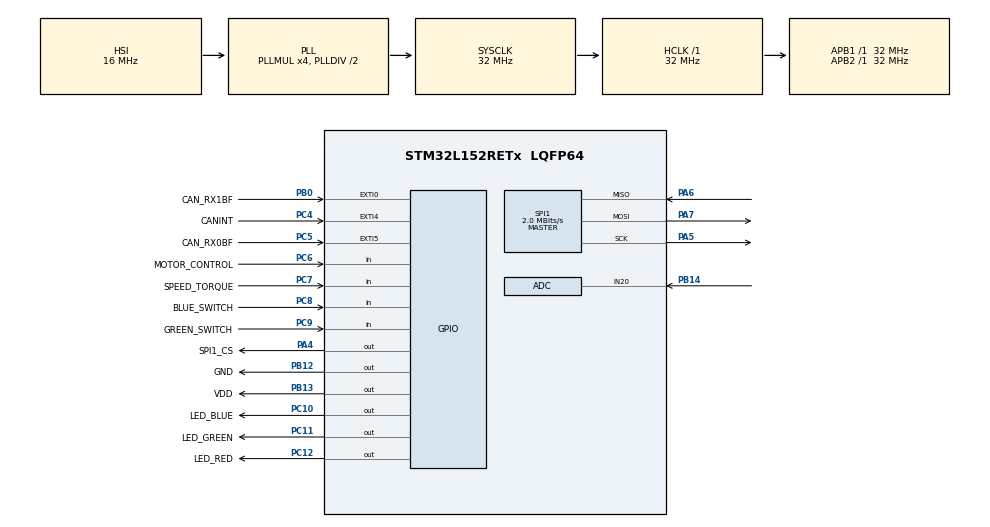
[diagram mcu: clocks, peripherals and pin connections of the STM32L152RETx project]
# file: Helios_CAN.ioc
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ADC.Channel-0\#ChannelRegularConversion=ADC_CHANNEL_20
ADC.NbrOfConversionFlag=1
ADC.Rank-0\#ChannelRegularConversion=1
ADC.SamplingTime-0\#ChannelRegularConversion=ADC_SAMPLETIME_4CYCLES
FREERTOS.Mutexes01=SPIMutex,Dynamic,NULL
FREERTOS.Tasks01=defaultTask,24,128,StartDefaultTask,Default,NULL,Dynamic,NULL,NULL
Mcu.Family=STM32L1
Mcu.Name=STM32L152RETx
Mcu.Package=LQFP64
NVIC.EXTI9_5_IRQn=true\:5\:0\:false\:false\:true\:true\:true\:true\:true
NVIC.PriorityGroup=NVIC_PRIORITYGROUP_4
NVIC.TIM2_IRQn=true\:15\:0\:false\:false\:true\:false\:false\:true\:true
NVIC.TimeBase=TIM2_IRQn
NVIC.TimeBaseIP=TIM2
PA13.Mode=Trace_Asynchronous_SW
PA13.Signal=SYS_JTMS-SWDIO
PA14.Mode=Trace_Asynchronous_SW
PA14.Signal=SYS_JTCK-SWCLK
PA4.GPIO_Label=SPI1_CS
PA4.PinState=GPIO_PIN_SET
PA4.Signal=GPIO_Output
PA5.Mode=Full_Duplex_Master
PA5.Signal=SPI1_SCK
PA6.Mode=Full_Duplex_Master
PA6.Signal=SPI1_MISO
PA7.Mode=Full_Duplex_Master
PA7.Signal=SPI1_MOSI
PB0.GPIO_Label=CAN_RX1BF
PB0.GPIO_ModeDefaultEXTI=GPIO_MODE_IT_FALLING
PB0.Signal=GPXTI0
PB12.GPIO_Label=GND
PB12.PinState=GPIO_PIN_RESET
PB12.Signal=GPIO_Output
PB13.GPIO_Label=VDD
PB13.PinState=GPIO_PIN_SET
PB13.Signal=GPIO_Output
PB14.Mode=IN20
PB14.Signal=ADC_IN20
PB3.Mode=Trace_Asynchronous_SW
PB3.Signal=SYS_JTDO-TRACESWO
PC10.GPIO_Label=LED_BLUE
PC10.Signal=GPIO_Output
PC11.GPIO_Label=LED_GREEN
PC11.Signal=GPIO_Output
PC12.GPIO_Label=LED_RED
PC12.Signal=GPIO_Output
PC4.GPIO_Label=CANINT
PC4.GPIO_ModeDefaultEXTI=GPIO_MODE_IT_FALLING
PC4.Signal=GPXTI4
PC5.GPIO_Label=CAN_RX0BF
PC5.GPIO_ModeDefaultEXTI=GPIO_MODE_IT_FALLING
PC5.Signal=GPXTI5
PC6.GPIO_Label=MOTOR_CONTROL
PC6.Signal=GPIO_Input
PC7.GPIO_Label=SPEED_TORQUE
PC7.Signal=GPIO_Input
PC8.GPIO_Label=BLUE_SWITCH
PC8.Signal=GPIO_Input
PC9.GPIO_Label=GREEN_SWITCH
PC9.Signal=GPIO_Input
ProjectManager.HeapSize=0x200
ProjectManager.StackSize=0x400
ProjectManager.TargetToolchain=STM32CubeIDE
RCC.48MHZClocksFreq_Value=32000000
RCC.AHBFreq_Value=32000000
RCC.APB1Freq_Value=32000000
RCC.APB1TimFreq_Value=32000000
RCC.APB2Freq_Value=32000000
RCC.APB2TimFreq_Value=32000000
RCC.HCLKFreq_Value=32000000
RCC.HSE_VALUE=24000000
RCC.HSI_VALUE=16000000
RCC.LSE_VALUE=32768
RCC.MSI_VALUE=2097000
RCC.PLLMUL=RCC_PLL_MUL4
RCC.SYSCLKFreq_VALUE=32000000
RCC.SYSCLKSource=RCC_SYSCLKSOURCE_PLLCLK
RCC.VCOOutputFreq_Value=64000000
SPI1.BaudRatePrescaler=SPI_BAUDRATEPRESCALER_16
SPI1.CLKPhase=SPI_PHASE_2EDGE
SPI1.CLKPolarity=SPI_POLARITY_HIGH
SPI1.CalculateBaudRate=2.0 MBits/s
SPI1.Direction=SPI_DIRECTION_2LINES
SPI1.Mode=SPI_MODE_MASTER
SPI1.VirtualType=VM_MASTER
VP_FREERTOS_VS_CMSIS_V2.Mode=CMSIS_V2
VP_SYS_VS_tim2.Mode=TIM2
board=custom

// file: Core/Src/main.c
/* USER CODE BEGIN Header */
/**
  ******************************************************************************
  * @file           : main.c
  * @brief          : Main program body
  ******************************************************************************
  * @attention
  *
  * Copyright (c) 2022 STMicroelectronics.
  * All rights reserved.
  *
  * This software is licensed under terms that can be found in the LICENSE file
  * in the root directory of this software component.
  * If no LICENSE file comes with this software, it is provided AS-IS.
  *
  ******************************************************************************
  */
/* USER CODE END Header */
#include "main.h"
#include "cmsis_os.h"

/* USER CODE BEGIN Includes */
#include "CAN.h"
#include "ADC.h"
#include "BlueSwitchTask.h"
#include "GreenSwitchTask.h"
/* USER CODE END Includes */

/* USER CODE BEGIN PD */
#define CAN_INTERRUPT_QUEUE_COUNT 3 // anticipate 2 sudden messages + 1 for extra room
/* USER CODE END PD */

ADC_HandleTypeDef hadc;

SPI_HandleTypeDef hspi1;

/* Definitions for defaultTask */
osThreadId_t defaultTaskHandle;
const osThreadAttr_t defaultTask_attributes = {
  .name = "defaultTask",
  .stack_size = 128 * 4,
  .priority = (osPriority_t) osPriorityNormal,
};
/* Definitions for SPIMutex */
osMutexId_t SPIMutexHandle;
const osMutexAttr_t SPIMutex_attributes = {
  .name = "SPIMutex"
};
/* USER CODE BEGIN PV */
osThreadId_t greenSwitchTaskHandle;
const osThreadAttr_t greenSwitchTask_attributes = {
  .name = "greenSwitchTask",
  .stack_size = 128 * 4,
  .priority = (osPriority_t) osPriorityNormal,
};
osThreadId_t blueSwitchTaskHandle;
const osThreadAttr_t blueSwitchTask_attributes = {
  .name = "blueSwitchTask",
  .stack_size = 128 * 4,
  .priority = (osPriority_t) osPriorityNormal,
};
osThreadId_t MotorTestTaskHandle;
const osThreadAttr_t MotorTestTask_attributes = {
  .name = "MotorTestTask",
  .stack_size = 128 * 4,
  .priority = (osPriority_t) osPriorityNormal,
};
osThreadId_t canTxGateKeeperTaskHandle;
const osThreadAttr_t canTxGateKeeperTask_attributes = {
  .name = "canTxGateKeeperTask",
  .stack_size = 128 * 4,
  .priority = (osPriority_t) osPriorityAboveNormal1,
};
osThreadId_t canRxInterruptTaskHandle;
const osThreadAttr_t canRXInterruptTask_attributes = {
  .name = "canRxInterruptTask",
  .stack_size = 128 * 4,
  .priority = (osPriority_t) osPriorityAboveNormal1,
};

osMessageQueueId_t CANInterruptQueue;
osMessageQueueId_t CANTxMessageQueue;

uint8_t blueStatus = 0;
uint8_t greenStatus = 0;
/* USER CODE END PV */

void SystemClock_Config(void);
static void MX_GPIO_Init(void);
static void MX_SPI1_Init(void);
static void MX_ADC_Init(void);
void StartDefaultTask(void *argument);

int main(void)
{

  /* MCU Configuration--------------------------------------------------------*/

  /* Reset of all peripherals, Initializes the Flash interface and the Systick. */
  HAL_Init();

  /* Configure the system clock */
  SystemClock_Config();

  /* Initialize all configured peripherals */
  MX_GPIO_Init();
  MX_SPI1_Init();
  MX_ADC_Init();
  /* USER CODE BEGIN 2 */
  ConfigureCANSPI();
  //HAL_SPI_Receive_IT(&hspi2, buffer, 1);
  /* USER CODE END 2 */

  /* Init scheduler */
  osKernelInitialize();
  /* Create the mutex(es) */
  /* creation of SPIMutex */
  SPIMutexHandle = osMutexNew(&SPIMutex_attributes);

  /* USER CODE BEGIN RTOS_QUEUES */
  CANInterruptQueue = osMessageQueueNew(CAN_INTERRUPT_QUEUE_COUNT, sizeof(uint16_t), NULL);
  CANTxMessageQueue = osMessageQueueNew(10, sizeof(CANMsg), NULL);
  /* USER CODE END RTOS_QUEUES */

  /* Create the thread(s) */
  /* creation of defaultTask */
  defaultTaskHandle = osThreadNew(StartDefaultTask, NULL, &defaultTask_attributes);

  /* USER CODE BEGIN RTOS_THREADS */
  greenSwitchTaskHandle = osThreadNew((osThreadFunc_t)greenSwitchTask, NULL, &greenSwitchTask_attributes);
  blueSwitchTaskHandle = osThreadNew((osThreadFunc_t)blueSwitchTask, NULL, &greenSwitchTask_attributes);
  MotorTestTaskHandle = osThreadNew((osThreadFunc_t)MotorTestTask, NULL, &motorTestngTask_attributes);
  cantx
  /* USER CODE END RTOS_THREADS */

  /* Start scheduler */
  osKernelStart();

  /* We should never get here as control is now taken by the scheduler */
  /* Infinite loop */
  while (1)
  {

  }
}

void SystemClock_Config(void)
{
  RCC_OscInitTypeDef RCC_OscInitStruct = {0};
  RCC_ClkInitTypeDef RCC_ClkInitStruct = {0};

  /** Configure the main internal regulator output voltage
  */
  __HAL_PWR_VOLTAGESCALING_CONFIG(PWR_REGULATOR_VOLTAGE_SCALE1);

  /** Initializes the RCC Oscillators according to the specified parameters
  * in the RCC_OscInitTypeDef structure.
  */
  RCC_OscInitStruct.OscillatorType = RCC_OSCILLATORTYPE_HSI;
  RCC_OscInitStruct.HSIState = RCC_HSI_ON;
  RCC_OscInitStruct.HSICalibrationValue = RCC_HSICALIBRATION_DEFAULT;
  RCC_OscInitStruct.PLL.PLLState = RCC_PLL_ON;
  RCC_OscInitStruct.PLL.PLLSource = RCC_PLLSOURCE_HSI;
  RCC_OscInitStruct.PLL.PLLMUL = RCC_PLL_MUL4;
  RCC_OscInitStruct.PLL.PLLDIV = RCC_PLL_DIV2;
  if (HAL_RCC_OscConfig(&RCC_OscInitStruct) != HAL_OK)
  {
    Error_Handler();
  }

  /** Initializes the CPU, AHB and APB buses clocks
  */
  RCC_ClkInitStruct.ClockType = RCC_CLOCKTYPE_HCLK|RCC_CLOCKTYPE_SYSCLK
                              |RCC_CLOCKTYPE_PCLK1|RCC_CLOCKTYPE_PCLK2;
  RCC_ClkInitStruct.SYSCLKSource = RCC_SYSCLKSOURCE_PLLCLK;
  RCC_ClkInitStruct.AHBCLKDivider = RCC_SYSCLK_DIV1;
  RCC_ClkInitStruct.APB1CLKDivider = RCC_HCLK_DIV1;
  RCC_ClkInitStruct.APB2CLKDivider = RCC_HCLK_DIV1;

  if (HAL_RCC_ClockConfig(&RCC_ClkInitStruct, FLASH_LATENCY_1) != HAL_OK)
  {
    Error_Handler();
  }
}

static void MX_ADC_Init(void)
{

  ADC_ChannelConfTypeDef sConfig = {0};

  /** Configure the global features of the ADC (Clock, Resolution, Data Alignment and number of conversion)
  */
  hadc.Instance = ADC1;
  hadc.Init.ClockPrescaler = ADC_CLOCK_ASYNC_DIV1;
  hadc.Init.Resolution = ADC_RESOLUTION_12B;
  hadc.Init.DataAlign = ADC_DATAALIGN_RIGHT;
  hadc.Init.ScanConvMode = ADC_SCAN_DISABLE;
  hadc.Init.EOCSelection = ADC_EOC_SEQ_CONV;
  hadc.Init.LowPowerAutoWait = ADC_AUTOWAIT_DISABLE;
  hadc.Init.LowPowerAutoPowerOff = ADC_AUTOPOWEROFF_DISABLE;
  hadc.Init.ChannelsBank = ADC_CHANNELS_BANK_A;
  hadc.Init.ContinuousConvMode = DISABLE;
  hadc.Init.NbrOfConversion = 1;
  hadc.Init.DiscontinuousConvMode = DISABLE;
  hadc.Init.ExternalTrigConv = ADC_SOFTWARE_START;
  hadc.Init.ExternalTrigConvEdge = ADC_EXTERNALTRIGCONVEDGE_NONE;
  hadc.Init.DMAContinuousRequests = DISABLE;
  if (HAL_ADC_Init(&hadc) != HAL_OK)
  {
    Error_Handler();
  }

  /** Configure for the selected ADC regular channel its corresponding rank in the sequencer and its sample time.
  */
  sConfig.Channel = ADC_CHANNEL_20;
  sConfig.Rank = ADC_REGULAR_RANK_1;
  sConfig.SamplingTime = ADC_SAMPLETIME_4CYCLES;
  if (HAL_ADC_ConfigChannel(&hadc, &sConfig) != HAL_OK)
  {
    Error_Handler();
  }

}

static void MX_SPI1_Init(void)
{

  /* SPI1 parameter configuration*/
  hspi1.Instance = SPI1;
  hspi1.Init.Mode = SPI_MODE_MASTER;
  hspi1.Init.Direction = SPI_DIRECTION_2LINES;
  hspi1.Init.DataSize = SPI_DATASIZE_8BIT;
  hspi1.Init.CLKPolarity = SPI_POLARITY_HIGH;
  hspi1.Init.CLKPhase = SPI_PHASE_2EDGE;
  hspi1.Init.NSS = SPI_NSS_SOFT;
  hspi1.Init.BaudRatePrescaler = SPI_BAUDRATEPRESCALER_16;
  hspi1.Init.FirstBit = SPI_FIRSTBIT_MSB;
  hspi1.Init.TIMode = SPI_TIMODE_DISABLE;
  hspi1.Init.CRCCalculation = SPI_CRCCALCULATION_DISABLE;
  hspi1.Init.CRCPolynomial = 10;
  if (HAL_SPI_Init(&hspi1) != HAL_OK)
  {
    Error_Handler();
  }

}

static void MX_GPIO_Init(void)
{
  GPIO_InitTypeDef GPIO_InitStruct = {0};

  /* GPIO Ports Clock Enable */
  __HAL_RCC_GPIOA_CLK_ENABLE();
  __HAL_RCC_GPIOC_CLK_ENABLE();
  __HAL_RCC_GPIOB_CLK_ENABLE();

  /*Configure GPIO pin Output Level */
  HAL_GPIO_WritePin(SPI1_CS_GPIO_Port, SPI1_CS_Pin, GPIO_PIN_SET);

  /*Configure GPIO pin Output Level */
  HAL_GPIO_WritePin(GND_GPIO_Port, GND_Pin, GPIO_PIN_RESET);

  /*Configure GPIO pin Output Level */
  HAL_GPIO_WritePin(VDD_GPIO_Port, VDD_Pin, GPIO_PIN_SET);

  /*Configure GPIO pin Output Level */
  HAL_GPIO_WritePin(GPIOC, LED_BLUE_Pin|LED_GREEN_Pin|LED_RED_Pin, GPIO_PIN_RESET);

  /*Configure GPIO pin : SPI1_CS_Pin */
  GPIO_InitStruct.Pin = SPI1_CS_Pin;
  GPIO_InitStruct.Mode = GPIO_MODE_OUTPUT_PP;
  GPIO_InitStruct.Pull = GPIO_NOPULL;
  GPIO_InitStruct.Speed = GPIO_SPEED_FREQ_LOW;
  HAL_GPIO_Init(SPI1_CS_GPIO_Port, &GPIO_InitStruct);

  /*Configure GPIO pins : CANINT_Pin CAN_RX0BF_Pin */
  GPIO_InitStruct.Pin = CANINT_Pin|CAN_RX0BF_Pin;
  GPIO_InitStruct.Mode = GPIO_MODE_IT_FALLING;
  GPIO_InitStruct.Pull = GPIO_NOPULL;
  HAL_GPIO_Init(GPIOC, &GPIO_InitStruct);

  /*Configure GPIO pin : CAN_RX1BF_Pin */
  GPIO_InitStruct.Pin = CAN_RX1BF_Pin;
  GPIO_InitStruct.Mode = GPIO_MODE_IT_FALLING;
  GPIO_InitStruct.Pull = GPIO_NOPULL;
  HAL_GPIO_Init(CAN_RX1BF_GPIO_Port, &GPIO_InitStruct);

  /*Configure GPIO pins : GND_Pin VDD_Pin */
  GPIO_InitStruct.Pin = GND_Pin|VDD_Pin;
  GPIO_InitStruct.Mode = GPIO_MODE_OUTPUT_PP;
  GPIO_InitStruct.Pull = GPIO_NOPULL;
  GPIO_InitStruct.Speed = GPIO_SPEED_FREQ_LOW;
  HAL_GPIO_Init(GPIOB, &GPIO_InitStruct);

  /*Configure GPIO pins : MOTOR_CONTROL_Pin SPEED_TORQUE_Pin BLUE_SWITCH_Pin GREEN_SWITCH_Pin */
  GPIO_InitStruct.Pin = MOTOR_CONTROL_Pin|SPEED_TORQUE_Pin|BLUE_SWITCH_Pin|GREEN_SWITCH_Pin;
  GPIO_InitStruct.Mode = GPIO_MODE_INPUT;
  GPIO_InitStruct.Pull = GPIO_NOPULL;
  HAL_GPIO_Init(GPIOC, &GPIO_InitStruct);

  /*Configure GPIO pins : LED_BLUE_Pin LED_GREEN_Pin LED_RED_Pin */
  GPIO_InitStruct.Pin = LED_BLUE_Pin|LED_GREEN_Pin|LED_RED_Pin;
  GPIO_InitStruct.Mode = GPIO_MODE_OUTPUT_PP;
  GPIO_InitStruct.Pull = GPIO_NOPULL;
  GPIO_InitStruct.Speed = GPIO_SPEED_FREQ_LOW;
  HAL_GPIO_Init(GPIOC, &GPIO_InitStruct);

  /* EXTI interrupt init*/
  HAL_NVIC_SetPriority(EXTI9_5_IRQn, 5, 0);
  HAL_NVIC_EnableIRQ(EXTI9_5_IRQn);

}

/* USER CODE BEGIN 4 */

void HAL_GPIO_EXTI_Callback(uint16_t GPIO_Pin)
{
	osMessageQueuePut(CANInterruptQueue, &GPIO_Pin, 0, TASK_QUEUE_TIMEOUT);
}
/* USER CODE END 4 */

void StartDefaultTask(void *argument)
{
  /* USER CODE BEGIN 5 */
	/*uint64_t ID = 0x1;
	uint8_t DLC = 1;
	uint8_t interrupt = 1;
	uint8_t buffer[8] = {0};
	uint8_t data[1] = {0x0}; */
  /* Infinite loop */
	float volt;
  for(;;)
  {
	  osDelay(10);
	  CAN_IC_WRITE_REGISTER(0x2c, 0x00); //clear interrupts
      volt = getVoltage();
  }
  /* USER CODE END 5 */
}

void HAL_TIM_PeriodElapsedCallback(TIM_HandleTypeDef *htim)
{
  if (htim->Instance == TIM2) {
    HAL_IncTick();
  }
}

void Error_Handler(void)
{
  __disable_irq();
  while (1)
  {
  }
}
